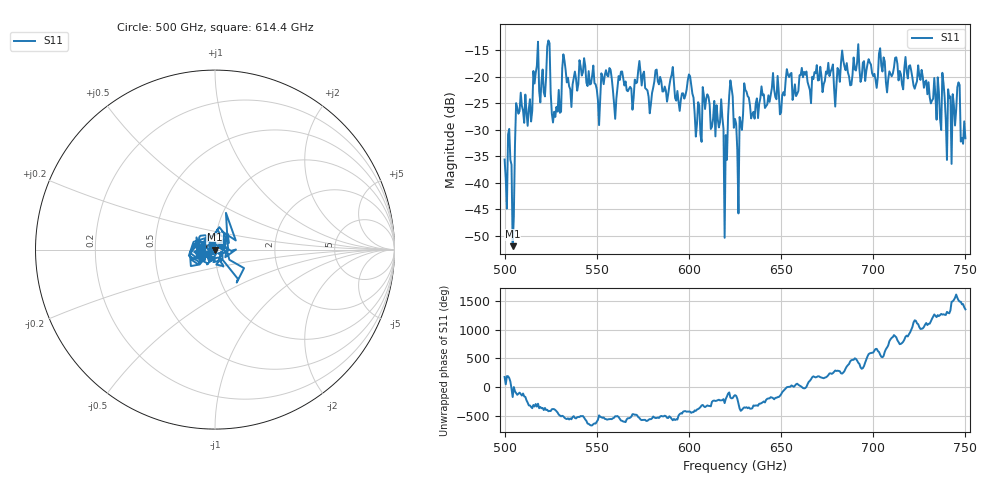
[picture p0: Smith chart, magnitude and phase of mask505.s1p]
!Created with skrf (http://scikit-rf.org).
# GHz S MA R 50.0
!freq magS11 angS11
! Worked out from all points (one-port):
!   401 points, 500 GHz to 750 GHz, reference 50 ohm
!   lowest |S11| = -52.0 dB at 504.4 GHz (marker M1), VSWR 1.01, Z = 49.8 - j0.0404 ohm
!   |S11| at or under -10 dB: start of sweep to end of sweep
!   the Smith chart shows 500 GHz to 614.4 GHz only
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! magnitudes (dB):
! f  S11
! 500 GHz  -35.6
! 504.4 GHz  -52.0
! 507.5 GHz  -27.0
! 513.8 GHz  -24.3
! 516.9 GHz  -19.3
! 520.6 GHz  -18.6
! 523.8 GHz  -13.2
! 526.9 GHz  -26.6
! 531.2 GHz  -18.5
! 560 GHz  -28.0
! 562.5 GHz  -20.6
! 593.8 GHz  -22.7
! 600.6 GHz  -19.9
! 605.6 GHz  -25.4
! 608.8 GHz  -26.1
! 617.5 GHz  -24.3
! 619.4 GHz  -50.4
! 622.5 GHz  -20.7
! 625 GHz  -28.0
! 627.5 GHz  -27.6
! 631.2 GHz  -22.8
! 634.4 GHz  -27.1
! 656.2 GHz  -24.4
! 687.5 GHz  -21.6
! 718.8 GHz  -20.3
! 741.2 GHz  -24.1
! 745.6 GHz  -22.0
! 750 GHz  -31.6
